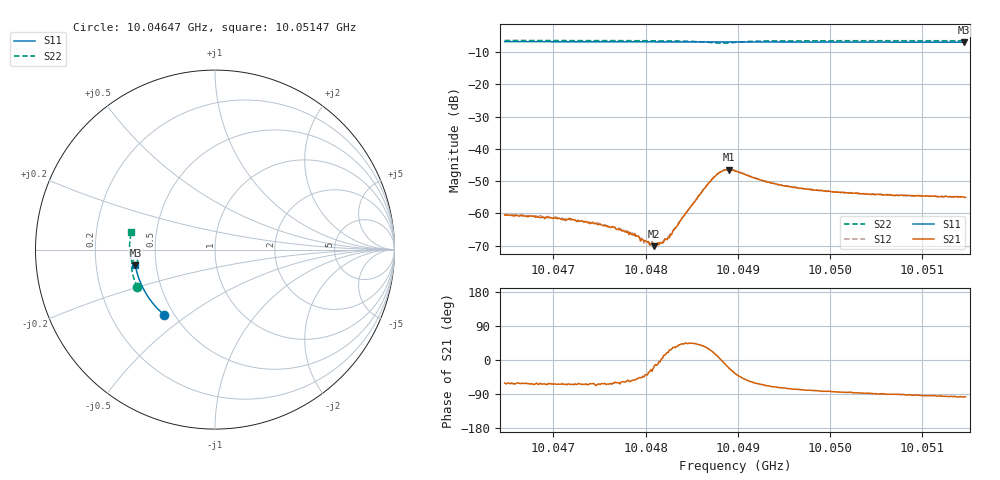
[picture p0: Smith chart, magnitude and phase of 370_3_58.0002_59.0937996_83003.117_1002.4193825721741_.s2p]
#  HZ  S  RI  R  50.00
! Rohde & Schwarz Vector Network Analyzer
! Rohde-Schwarz,ZNB20-2Port,1311601062101988,3.16
! Created: UTC 3/21/2024, 1:06:54 AM
! freq[Hz]  re:S11  im:S11  re:S21  im:S21  re:S12  im:S12  re:S22  im:S22
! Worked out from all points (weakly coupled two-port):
!   401 points, 10.04647 GHz to 10.05147 GHz, reference 50 ohm
!   highest |S21| = -46.41 dB at 10.04891 GHz (marker M1); lowest = -70.1 dB at 10.0481 GHz (marker M2)
!   lowest |S11| = -6.9 dB at 10.05146 GHz (marker M3), VSWR 2.65, Z = 19 - j4.14 ohm
!   |S11| at or under -10 dB: nowhere
!   |S22| runs from -7.2 to -6.4 dB; largest |S21 - S12| = 0.00033
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1.0046471e10  -0.2823 -0.3642  0.000467 -0.000825  0.000529 -0.000806  -0.4322 -0.2108
1.0046946e10  -0.3058 -0.3433  0.000406 -0.000768  0.00049 -0.000752  -0.4445 -0.1812
1.0047108e10  -0.3136 -0.3358  0.000342 -0.000718  0.000421 -0.000713  -0.4482 -0.1707
1.0047195e10  -0.3175 -0.3317  0.000356 -0.000725  0.000413 -0.000724  -0.4502 -0.1652
1.0047308e10  -0.3226 -0.3264  0.000325 -0.000691  0.000365 -0.000687  -0.4524 -0.1578
1.0047658e10  -0.3381 -0.3094  0.000302 -0.000543  0.00032 -0.000512  -0.4591 -0.1342
1.0047908e10  -0.3486 -0.2966  0.000293 -0.000341  0.000298 -0.000366  -0.4626 -0.1163
1.0047995e10  -0.3522 -0.292  0.000294 -0.000239  0.00031 -0.000238  -0.4635 -0.1099
1.0048095e10  -0.3562 -0.2868  0.000299 -8.48e-05  0.000319 -6.68e-05  -0.4645 -0.1022
1.0048145e10  -0.3582 -0.2841  0.000326 -2.44e-05  0.00034 -6.17e-06  -0.465 -0.0983
1.0048195e10  -0.3602 -0.2816  0.000352 7.35e-05  0.000374 4.94e-05  -0.465 -0.0944
1.0048258e10  -0.3626 -0.2781  0.000374 0.000185  0.000403 0.000237  -0.4653 -0.0892
1.004842e10  -0.3688 -0.2694  0.000685 0.000635  0.00064 0.000675  -0.4637 -0.0746
1.004872e10  -0.3794 -0.2529  0.00312 0.00133  0.00305 0.00151  -0.4418 -0.0522
1.004882e10  -0.3827 -0.2475  0.00446 -1.03e-06  0.0045 0.000268  -0.4312 -0.0602
1.0048908e10  -0.3856 -0.2425  0.00443 -0.0018  0.00454 -0.00155  -0.4347 -0.0719
1.004897e10  -0.3877 -0.2391  0.00371 -0.00261  0.00396 -0.00242  -0.4426 -0.0749
1.0049358e10  -0.4 -0.2168  0.00103 -0.0028  0.00123 -0.00275  -0.4705 -0.0475
1.0049807e10  -0.4127 -0.19  0.000376 -0.00229  0.000511 -0.00232  -0.476 -0.0123
1.0050645e10  -0.4315 -0.1384  -2.3e-05 -0.00195  8.66e-05 -0.00194  -0.4744 0.0461
1.0051457e10  -0.4436 -0.0866  -0.000202 -0.00176  -0.000129 -0.00181  -0.4658 0.0998
1.005147e10  -0.4438 -0.086  -0.000234 -0.00177  -0.000172 -0.00178  -0.4655 0.1007
